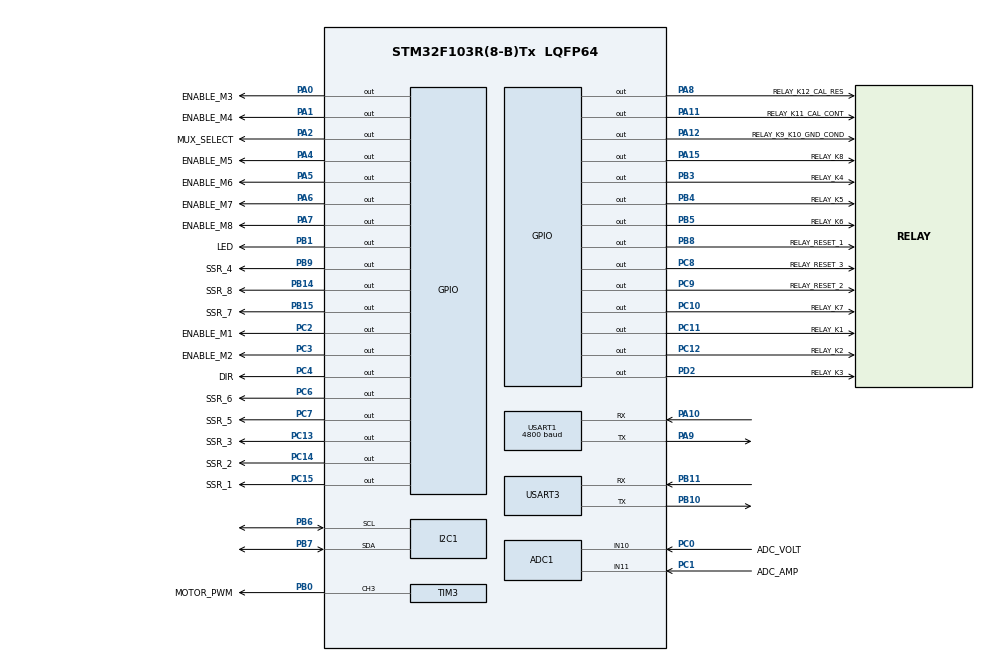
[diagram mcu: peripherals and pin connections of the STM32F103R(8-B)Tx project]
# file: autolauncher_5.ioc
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ADC1.Channel-0\#ChannelRegularConversion=ADC_CHANNEL_10
ADC1.Channel-1\#ChannelRegularConversion=ADC_CHANNEL_11
ADC1.Channel-2\#ChannelRegularConversion=ADC_CHANNEL_TEMPSENSOR
ADC1.ContinuousConvMode=DISABLE
ADC1.EnableAnalogWatchDog=false
ADC1.ExternalTrigConv=ADC_SOFTWARE_START
ADC1.NbrOfConversion=3
ADC1.NbrOfConversionFlag=1
ADC1.Rank-0\#ChannelRegularConversion=1
ADC1.Rank-1\#ChannelRegularConversion=2
ADC1.Rank-2\#ChannelRegularConversion=3
ADC1.SamplingTime-0\#ChannelRegularConversion=ADC_SAMPLETIME_239CYCLES_5
ADC1.SamplingTime-1\#ChannelRegularConversion=ADC_SAMPLETIME_239CYCLES_5
ADC1.SamplingTime-2\#ChannelRegularConversion=ADC_SAMPLETIME_239CYCLES_5
ADC1.master=1
Dma.ADC1.0.Direction=DMA_PERIPH_TO_MEMORY
Dma.ADC1.0.Instance=DMA1_Channel1
Dma.ADC1.0.MemDataAlignment=DMA_MDATAALIGN_HALFWORD
Dma.ADC1.0.MemInc=DMA_MINC_ENABLE
Dma.ADC1.0.Mode=DMA_CIRCULAR
Dma.ADC1.0.PeriphDataAlignment=DMA_PDATAALIGN_HALFWORD
Dma.ADC1.0.PeriphInc=DMA_PINC_DISABLE
Dma.ADC1.0.Priority=DMA_PRIORITY_LOW
Dma.Request0=ADC1
Mcu.Family=STM32F1
Mcu.Name=STM32F103R(8-B)Tx
Mcu.Package=LQFP64
NVIC.DMA1_Channel1_IRQn=true\:0\:0\:false\:false\:true\:false\:true\:true
NVIC.PriorityGroup=NVIC_PRIORITYGROUP_4
NVIC.TIM4_IRQn=true\:0\:0\:false\:false\:true\:true\:true\:true
NVIC.USART1_IRQn=true\:1\:0\:true\:false\:true\:true\:true\:true
PA0-WKUP.GPIO_Label=ENABLE_M3
PA0-WKUP.Signal=GPIO_Output
PA1.GPIO_Label=ENABLE_M4
PA1.Signal=GPIO_Output
PA10.Mode=Asynchronous
PA10.Signal=USART1_RX
PA11.GPIO_Label=RELAY_K11_CAL_CONT
PA11.Signal=GPIO_Output
PA12.GPIO_Label=RELAY_K9_K10_GND_COND
PA12.Signal=GPIO_Output
PA13.Mode=Serial_Wire
PA13.Signal=SYS_JTMS-SWDIO
PA14.Mode=Serial_Wire
PA14.Signal=SYS_JTCK-SWCLK
PA15.GPIO_Label=RELAY_K8
PA15.Signal=GPIO_Output
PA2.GPIO_Label=MUX_SELECT
PA2.Signal=GPIO_Output
PA4.GPIO_Label=ENABLE_M5
PA4.Signal=GPIO_Output
PA5.GPIO_Label=ENABLE_M6
PA5.Signal=GPIO_Output
PA6.GPIO_Label=ENABLE_M7
PA6.Signal=GPIO_Output
PA7.GPIO_Label=ENABLE_M8
PA7.Signal=GPIO_Output
PA8.GPIO_Label=RELAY_K12_CAL_RES
PA8.Signal=GPIO_Output
PA9.Mode=Asynchronous
PA9.Signal=USART1_TX
PB0.GPIO_Label=MOTOR_PWM
PB0.Signal=S_TIM3_CH3
PB1.GPIO_Label=LED
PB1.Signal=GPIO_Output
PB10.Mode=Asynchronous
PB10.Signal=USART3_TX
PB11.Mode=Asynchronous
PB11.Signal=USART3_RX
PB14.GPIO_Label=SSR_8
PB14.Signal=GPIO_Output
PB15.GPIO_Label=SSR_7
PB15.Signal=GPIO_Output
PB3.GPIO_Label=RELAY_K4
PB3.Signal=GPIO_Output
PB4.GPIO_Label=RELAY_K5
PB4.Signal=GPIO_Output
PB5.GPIO_Label=RELAY_K6
PB5.Signal=GPIO_Output
PB6.Mode=I2C
PB6.Signal=I2C1_SCL
PB7.Mode=I2C
PB7.Signal=I2C1_SDA
PB8.GPIO_Label=RELAY_RESET_1
PB8.Signal=GPIO_Output
PB9.GPIO_Label=SSR_4
PB9.Signal=GPIO_Output
PC0.GPIO_Label=ADC_VOLT
PC0.Signal=ADCx_IN10
PC1.GPIO_Label=ADC_AMP
PC1.Signal=ADCx_IN11
PC10.GPIO_Label=RELAY_K7
PC10.Signal=GPIO_Output
PC11.GPIO_Label=RELAY_K1
PC11.Signal=GPIO_Output
PC12.GPIO_Label=RELAY_K2
PC12.Signal=GPIO_Output
PC13-TAMPER-RTC.GPIO_Label=SSR_3
PC13-TAMPER-RTC.Signal=GPIO_Output
PC14-OSC32_IN.GPIO_Label=SSR_2
PC14-OSC32_IN.Signal=GPIO_Output
PC15-OSC32_OUT.GPIO_Label=SSR_1
PC15-OSC32_OUT.Signal=GPIO_Output
PC2.GPIO_Label=ENABLE_M1
PC2.Signal=GPIO_Output
PC3.GPIO_Label=ENABLE_M2
PC3.Signal=GPIO_Output
PC4.GPIO_Label=DIR
PC4.Signal=GPIO_Output
PC6.GPIO_Label=SSR_6
PC6.Signal=GPIO_Output
PC7.GPIO_Label=SSR_5
PC7.Signal=GPIO_Output
PC8.GPIO_Label=RELAY_RESET_3
PC8.Signal=GPIO_Output
PC9.GPIO_Label=RELAY_RESET_2
PC9.Signal=GPIO_Output
PD2.GPIO_Label=RELAY_K3
PD2.Signal=GPIO_Output
ProjectManager.HeapSize=0x200
ProjectManager.StackSize=0x400
ProjectManager.TargetToolchain=STM32CubeIDE
RCC.APB1Freq_Value=8000000
RCC.APB2Freq_Value=8000000
SH.ADCx_IN10.0=ADC1_IN10,IN10
SH.ADCx_IN11.0=ADC1_IN11,IN11
SH.S_TIM3_CH3.0=TIM3_CH3,PWM Generation3 CH3
TIM3.AutoReloadPreload=TIM_AUTORELOAD_PRELOAD_ENABLE
TIM3.Channel-PWM\ Generation3\ CH3=TIM_CHANNEL_3
TIM3.Period=5000-1
TIM3.Prescaler=8-1
TIM3.Pulse-PWM\ Generation3\ CH3=4500-1
TIM4.Channel-PWM\ Generation4\ No\ Output=TIM_CHANNEL_4
TIM4.Period=500-1
TIM4.Prescaler=8000-1
TIM4.Pulse-PWM\ Generation4\ No\ Output=250-1
TIM4.TIM_MasterOutputTrigger=TIM_TRGO_UPDATE
USART1.BaudRate=4800
USART1.VirtualMode=VM_ASYNC
USART3.VirtualMode=VM_ASYNC
VP_ADC1_TempSens_Input.Mode=IN-TempSens
VP_TIM3_VS_ClockSourceINT.Mode=Internal
VP_TIM4_VS_ClockSourceINT.Mode=Internal
VP_TIM4_VS_no_output4.Mode=PWM Generation4 No Output
board=custom

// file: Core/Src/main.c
/* USER CODE BEGIN Header */
/**
  ******************************************************************************
  * @file           : main.c
  * @brief          : Main program body
  ******************************************************************************
  * @attention
  *
  * Copyright (c) 2024 STMicroelectronics.
  * All rights reserved.
  *
  * This software is licensed under terms that can be found in the LICENSE file
  * in the root directory of this software component.
  * If no LICENSE file comes with this software, it is provided AS-IS.
  *
  ******************************************************************************
  */
/* USER CODE END Header */
#include "main.h"
#include "adc.h"
#include "dma.h"
#include "i2c.h"
#include "tim.h"
#include "usart.h"
#include "gpio.h"

/* USER CODE BEGIN Includes */
#include <string.h>
#include <stdio.h>
#include <stdlib.h>
#include "retargetio.h"
#include "eeprom.h"
#include "stepper_drv8826.h"
/* USER CODE END Includes */

/* USER CODE BEGIN PD */

#define MOTOR_GREASE_CYCLES 10 // grease pin cycle count
// Relay parameters
#define RELAY_ON_TIME 10 // time to keep relay coils energized in milliseconds
#define RELAY_INTERVAL_TIME 10 // time in between relay activations when in sequence, in milliseconds
// EEPROM parameters

/* USER CODE END PD */

/* USER CODE BEGIN PV */
relayLock_t relayLock = reFree; // relay mutex to ensure one coil is driven at a time
rxStatus_t rxStatus = idle; // flag, indicate if a new char was sent over serial. Set to 'active' in the UART interrupt callback, and 'idle' after processing command
activeMenu_t activeMenu = mainMenu; // menu state to determine how the received command will be processed (config or main)
// initialize main structures
launcher_t launcher = {0, '\0', '\0', 0, 'N'};
eeprom_t eeprom = {127, 0, EEPROM_BUS_ADDRESS, 10};
motor_t motor = {MOTOR_RUNTIME_DEFAULT, MOTOR_SAMPLE_PERIOD_DEFAULT, MOTOR_PWM_FREQ_DEFAULT, MOTOR_WIRING_DEFAULT ,{0,0,0,0,0,0,0,0}, {0,0,0,0,0,0,0,0,}}; // runtime, samplePeriod, configed, wiring, imax, use count
// buffer and flags for byte received by UART in interrupt mode
char rxBuffer[1] = "\0"; // UART1 receive buffer from computer, a char will be stored here with UART interrupt
char rxChar = '\0'; // UART1 receive character, == xBuffer[0]
// ADC conversion flags
uint8_t adcComplete = 0; // flag used to print ADC values
uint8_t adcDMAFull = 0; // this flag is set by the DMA IRQ when the adc buffer is full, located in DMA1_Channel1_IRQHandler(void) (stm32f1xx_it.c)
/* USER CODE END PV */

void SystemClock_Config(void);
/* USER CODE BEGIN PFP */

// Auxiliar functions
void get_user_input(char promptMsg[], char errorMsg[], uint8_t count, char checkList[], char * output);
void print_inline(char * text);
void print_char(uint8_t ch);
uint8_t is_num(char c);
void HAL_UART_RxCpltCallback(UART_HandleTypeDef * huart);
void print_serial_number(void);
void uartrx_interrupt_init(void);

// Menu control functions
void menu_init(void);
void menu_main_print(void);
void menu_config_print(void);
void menu_main_process_input(char option); // process the character received if in main menu
void menu_config_process_input(char option); // process the character received if in config menu
void motor_read_stats(void);
void motor_set_runtime(void);
void motor_set_sampling_period(void);
void motor_set_wiring(void);
void motor_set_pwm_freq(void);
void update_timer(TIM_HandleTypeDef * htim, uint32_t period, uint8_t channel ,float dutyCycle);
void motor_reset_stats(void);
void motor_read_parameters(void);
void menu_help_print(void);
void menu_config_tubes_type_serial(void);
void menu_print_volt_temp(void);

// Relay control functions
void connect_xbt_pin(uint8_t xbtNum); // connect ABC to a desired XBT 1-8
void calibrate_on(void);
void calibration_resistor(void);
void unground_xbt(void);
void reset_relay(void); // reset all relays, ground ABC
void drive_relay(GPIO_TypeDef * relayPort, uint16_t relayPin, uint8_t onTime); // drive the desired relay: port, pin & time coil is energized [ms]
void relay_init(void); // initialized relays in reset state

// RS232 TX control
void multiplexer_set(mux_t select);

void parameter_init(void);
/* USER CODE END PFP */

int main(void)
{

  /* MCU Configuration--------------------------------------------------------*/

  /* Reset of all peripherals, Initializes the Flash interface and the Systick. */
  HAL_Init();

  /* Configure the system clock */
  SystemClock_Config();

  /* Initialize all configured peripherals */
  MX_GPIO_Init();
  MX_DMA_Init();
  MX_TIM3_Init();
  MX_USART1_UART_Init();
  MX_ADC1_Init();
  MX_I2C1_Init();
  MX_USART3_UART_Init();
  MX_TIM4_Init();
  /* USER CODE BEGIN 2 */

  // Retarget IO stream to UART
  RetargetInit(&huart1);
  // Initialize stepper motors
  motor_init();
  // initialize multiplexer
  multiplexer_set(MUX_STM32);
  // Initialize relays
  relay_init();
  // enable receive interrupt
  uartrx_interrupt_init();
  // Initialize autolauncher parameters i.e. read eeprom
  parameter_init();
  // display main menu at startup
  menu_main_print();
  printf("\r\n> ");

  /* USER CODE END 2 */

  /* Infinite loop */
  /* USER CODE BEGIN WHILE */
  while (1)
  {
	  // menu control loop
	  if(active == rxStatus){ // set to active with UART RX interrupt
		  rxStatus = idle;
		  if( mainMenu == activeMenu){
			  menu_main_process_input(rxChar); // go to main switch case menu
		  } else if ( configMenu == activeMenu){
			  menu_config_process_input(rxChar);
		  }
	  }
	  // could monitor something routinely here
	  HAL_Delay(1); // needed to debug

    /* USER CODE END WHILE */

  }
}

void SystemClock_Config(void)
{
  RCC_OscInitTypeDef RCC_OscInitStruct = {0};
  RCC_ClkInitTypeDef RCC_ClkInitStruct = {0};
  RCC_PeriphCLKInitTypeDef PeriphClkInit = {0};

  /** Initializes the RCC Oscillators according to the specified parameters
  * in the RCC_OscInitTypeDef structure.
  */
  RCC_OscInitStruct.OscillatorType = RCC_OSCILLATORTYPE_HSI;
  RCC_OscInitStruct.HSIState = RCC_HSI_ON;
  RCC_OscInitStruct.HSICalibrationValue = RCC_HSICALIBRATION_DEFAULT;
  RCC_OscInitStruct.PLL.PLLState = RCC_PLL_NONE;
  if (HAL_RCC_OscConfig(&RCC_OscInitStruct) != HAL_OK)
  {
    Error_Handler();
  }

  /** Initializes the CPU, AHB and APB buses clocks
  */
  RCC_ClkInitStruct.ClockType = RCC_CLOCKTYPE_HCLK|RCC_CLOCKTYPE_SYSCLK
                              |RCC_CLOCKTYPE_PCLK1|RCC_CLOCKTYPE_PCLK2;
  RCC_ClkInitStruct.SYSCLKSource = RCC_SYSCLKSOURCE_HSI;
  RCC_ClkInitStruct.AHBCLKDivider = RCC_SYSCLK_DIV1;
  RCC_ClkInitStruct.APB1CLKDivider = RCC_HCLK_DIV1;
  RCC_ClkInitStruct.APB2CLKDivider = RCC_HCLK_DIV1;

  if (HAL_RCC_ClockConfig(&RCC_ClkInitStruct, FLASH_LATENCY_0) != HAL_OK)
  {
    Error_Handler();
  }
  PeriphClkInit.PeriphClockSelection = RCC_PERIPHCLK_ADC;
  PeriphClkInit.AdcClockSelection = RCC_ADCPCLK2_DIV2;
  if (HAL_RCCEx_PeriphCLKConfig(&PeriphClkInit) != HAL_OK)
  {
    Error_Handler();
  }
}

/* USER CODE BEGIN 4 */

/***************************************** START AUTOLAUNCHER FUNCTIONS *****************************************/

/********************************************** MENU FUNCTIONS **********************************************/

/* Print Main Menu options */
void menu_main_print(void) {
    printf("\r\n\n\r");
    printf("|========================================|\n\r");
    printf("|   AOML Autolauncher board version 3.0  |\n\r");
    printf("|        Firmware version 2024.12.dd     |\n\r");
    printf("|========================================|\n\r");
    printf("|     Model #ALV3.0      S/N ");
    print_serial_number();
    printf("       |\n\r");
    printf("|========================================|\n\r");
    printf("|               COMMANDS                 |\r\n");
//    if (launcher.configured != 'Y') {
//        printf("| ERROR, NO SERIAL NUMBER ASSIGNED 	 |\n\r");
//    }
    printf("|========================================|\n\r");
    printf("| Connect  Cal Sim BT  	0                |\n\r");
    if (launcher.tubeCount == '6') {
        printf("| Connect  XBT 1-6     1,2,3,4,5,6       |\n\r");
        printf("| Extend   Pin 1-6     U,V,W,X,Y,Z       |\n\r");
        printf("| Retract  Pin 1-6     A,B,C,D,E,F       |\n\r");
    } else if (launcher.tubeCount == '8') {
        printf("| Connect  XBT 1-8      1,2,3,4,5,6,7,8  |\n\r");
        printf("| Extend   Pin 1-8      U,V,W,X,Y,Z,S,T  |\n\r");
        printf("| Retract  Pin 1-8      A,B,C,D,E,F,H,I  |\n\r");
    } else {
    	printf("| ERROR, NO TUBE COUNT!!                |\n\r");
    }
    printf("| Unground XBT         	G                |\n\r");
    printf("| Calibrate ON         	K                |\n\r");
    printf("| Calibration resistor	L                |\n\r");
    printf("| Reset all relays    	R                |\n\r");
    printf("| Print serial number  	s                |\n\r");
    printf("| This menu            	M                |\n\r");
    printf("| Read voltage & temp   P                |\n\r");
    printf("| Set Tx to GPS         N                |\n\r");
    printf("| Set Tx to STM32       O                |\n\r");
    printf("|========================================|\n\r");
    printf("\r\n");
}//end status_message

/* Process char received while in Main menu state */
void menu_main_process_input(char option){
	print_char(option);
	printf("\r\n> Executing OPTION (%c) --> ", option);

	switch (option){
		// Connect XBT pins
    case '0':
        //engage calibration resistor
    	printf("unground_xbt(), calibration_resistor(), calibrate_on()\r\n");
        unground_xbt();
        calibration_resistor();
        calibrate_on();
        break;
    case '1':
    	printf("connect_xbt_pin(1)\r\n");
        connect_xbt_pin(1);
        break;
    case '2':
        connect_xbt_pin(2);
        printf("connect_xbt_pin(2)\r\n");
        break;
    case '3':
        connect_xbt_pin(3);
        printf("connect_xbt_pin(3)\r\n");
        break;
    case '4':
        connect_xbt_pin(4);
        printf("connect_xbt_pin(4)\r\n");
        break;
    case '5':
        connect_xbt_pin(5);
        printf("connect_xbt_pin(5)\r\n");
        break;
    case '6':
        connect_xbt_pin(6);
        printf("connect_xbt_pin(6)\r\n");
        break;
    case '7':
        if (launcher.tubeCount == '8'){
            connect_xbt_pin(7);
            printf("connect_xbt_pin(7)\r\n");
        } else {
        	printf("\r\n* ERROR: tube 7 not available *\r\n");
        }
        break;
    case '8':
        if (launcher.tubeCount == '8'){
        	connect_xbt_pin(8);
        	printf("connect_xbt_pin(8)\r\n");
        } else {
        	printf("\r\n* ERROR: tube 8 not available *\r\n");
        }
        break;
        //EXTEND PINS
    case 'U':
    	printf("extend_pin(1)\r\n");
    	extend_pin(1);
        break;
    case 'V':
        printf("extend_pin(2)\r\n");
        extend_pin(2);
        break;
    case 'W':
        printf("extend_pin(3)\r\n");
        extend_pin(3);
        break;
    case 'X':
        printf("extend_pin(4)\r\n");
        extend_pin(4);
        break;
    case 'Y':
        printf("extend_pin(5)\r\n");
        extend_pin(5);
        break;
    case 'Z':
        printf("extend_pin(6)\r\n");
        extend_pin(6);
        break;
    case 'S':
        if (launcher.tubeCount == '8'){
        	printf("extend_pin(7)\r\n");
        	extend_pin(7);
        } else {
        	printf("\r\n* ERROR: tube 7 not available *\r\n");
        }
        break;
    case 'T':
        if (launcher.tubeCount == '8'){
        	printf("extend_pin(8)\r\n");
        	extend_pin(8);
        } else {
        	printf("\r\n* ERROR: tube 8 not available *\r\n");
        }
        break;
        //RETRACT PINS
    case 'A':
    	printf("retract_pin(1)\r\n");
    	retract_pin(1);
        break;
    case 'B':
        printf("retract_pin(2)\r\n");
        retract_pin(2);
        break;
    case 'C':
        printf("retract_pin(3)\r\n");
        retract_pin(3);
        break;
    case 'D':
        printf("retract_pin(4)\r\n");
        retract_pin(4);
        break;
    case 'E':
        printf("retract_pin(5)\r\n");
        retract_pin(5);
        break;
    case 'F':
        printf("retract_pin(6)\r\n");
        retract_pin(6);
        break;
    case 'H':
        if (launcher.tubeCount == '8'){
        	printf("retract_pin(7)\r\n");
        	retract_pin(7);
        } else {
        	printf("* ERROR: tube 7 not available *\r\n");
        }
        break;
    case 'I':
        if (launcher.tubeCount == '8'){
        	printf("retract_pin(8)\r\n");
        	retract_pin(8);
        } else {
        	printf("* ERROR: tube 8 not available *\r\n");
        }
        break;
    case 'K':
    	printf("calibrate_on()\r\n");
        calibrate_on();
        break;
    case 'R':
    	printf("reset_relay(), ground XBT\r\n");
        reset_relay();
        break;
    case 'L':
    	printf("calibration_resistor()\r\n");
        calibration_resistor();
        break;
    case 'G':
    	printf("unground_xbt()\r\n");
        unground_xbt();
        break;
    case 'M':
        menu_main_print();
        break;
    case '~':
    	printf("menu_config_print()\r\n");
        menu_config_print();
        activeMenu = configMenu; // set configuration menu flag
        break;
    case 's':
    	printf("print_serial_number()\r\n");
    	printf("AL Serial Number: ");
        print_serial_number();
        printf("\r\n");
        break;
    case 'P':
    	printf("menu_print_volt_temp()\r\n");
    	// read input voltage and internal temp on autolauncher
    	menu_print_volt_temp();
    	break;
    case 'N':
    	printf("multiplexer_set(MUX_GPS)\r\n");
    	printf("\r\n** Data TX from local GPS --> press 'O' to set Tx to STM32 **\r\n\r\n");
    	multiplexer_set(MUX_GPS);
    	break;
    case 'O':
    	printf("multiplexer_set(MUX_STM32)\r\n");
    	printf("\r\n** Data TX from STM32 **\r\n");
    	multiplexer_set(MUX_STM32);
    	menu_main_print();
    	break;
    default:
        printf("\r\n** Unrecognized command!!** \r\n");
        break;
	}
	printf("\r\n> ");
}

/* Prints Input voltage and STM32 chip internal temperature */
void menu_print_volt_temp(void){
	adcScan_t adcReading = adc_get_values();
	printf("\r\n> Voltage [AD# %i]: %i.%i V | STM32 Temperature [AD# %i]: %i.%i C\r\n",
				 (int)adcReading.voltage.rawValue, (int)adcReading.voltage.realValue, get_decimal(adcReading.voltage.realValue, 1),
				 (int)adcReading.temperature.rawValue, (int)adcReading.temperature.realValue, get_decimal(adcReading.temperature.realValue, 1));
}

/* Print secret configuration menu options
 * Access this menu with '~' */
void menu_config_print(void) {
    printf("\n\r");
    printf("=========================================\n\r");
    printf("| AOML Autolauncher configuration menu	|\n\r");
    printf("=========================================\n\r");
    printf("|    Model #ALV3.0      S/N ");
    print_serial_number();
    printf("       |\n\r");
    printf("|=======================================|\n\r");
    printf("|               COMMANDS                |\n\r");
    printf("|=======================================|\n\r");
    printf("| <M> This Menu                         |\n\r");
    printf("| <A> Set AL tubes, type & S/N          |\n\r");
    printf("| <S> Extend all pins                   |\n\r");
    printf("| <D> Retract all pins                  |\n\r");
    printf("| <F> Grease pins mode                  |\n\r");
    printf("| <G> Clear memory range                |\n\r");
    printf("| <H> Read motor statistics             |\n\r");
    printf("| <J> Set motor runtime                 |\n\r");
    printf("| <K> Set ADC sampling period           |\n\r");
    printf("| <L> Set motor wiring mode             |\n\r");
    printf("| <W> Set motor PWM frequency           |\n\r");
    printf("| <E> Reset motor statistics            |\n\r");
    printf("| <R> Read motor configuration          |\n\r");
    printf("| <Z> Help                              |\n\r");
    printf("| <Q> QUIT to main menu                 |\n\r");
    printf("|=======================================|\n\r");
    printf("\r\n");
}//end status_message

/* Process char received while in configuration menu */
void menu_config_process_input(char option){
	print_char(option);
	printf("\r\n> Executing OPTION (%c) --> ", option);

    switch (option) {
        case 'Q':
            printf("\n\r> Leaving Auto launcher configuration menu\n\r");
            activeMenu = mainMenu; // set active menu flag to main menu
            menu_main_print();
            break;
        case 'M':
        	printf("menu_config_print()\r\n");
            menu_config_print();
            break;
        case 'A':
        	printf("menu_config_tubes_type_serial()\r\n");
        	// get the autolauncher tube count
        	menu_config_tubes_type_serial();
            // print config menu again
            menu_config_print();
            break;
        case 'S':
        	printf("extend_all_pins()\r\n");
        	if(launcher.tubeCount == '6')
        		extend_all_pins(6);
        	if(launcher.tubeCount == '8')
        		extend_all_pins(8);
            break;
        case 'D':
        	printf("retract_all_pins()\r\n");
        	if(launcher.tubeCount == '6')
        		retract_all_pins(6);
        	if(launcher.tubeCount == '8')
        		retract_all_pins(8);
            break;
        case 'F':
            printf("\n\rSend the \"@\" symbol repeatedly to exit grease pins mode\r\n");
            printf("grease_pins()\r\n");
            grease_pins(MOTOR_GREASE_CYCLES);
            break;
        case 'G':
        	// clear range of eeprom memory blocks
        	printf("eeprom_clear_memory_range()\r\n");
        	eeprom_clear_memory_range();
        	break;
        case 'H':
        	// read motor statistics (imax, count)
        	printf("motor_read_stats()");
        	motor_read_stats();
        	break;
        case 'J':
        	// set motor runtime
        	printf("motor_set_runtime()");
        	motor_set_runtime();
    		break;
        case 'K':
        	// set sampling period for ADC when motor is running
        	printf("motor_set_sampling_period()");
        	motor_set_sampling_period();
        	break;
        case 'L':
        	// set motor wiring type: 0 or 1. Based on value it'll change the direction the motor runs in CW/CCW
        	printf("motor_set_wiring()");
        	motor_set_wiring();
        	break;
        case 'W':
        	// set the motor step PWM freq for the DRV8826
        	printf("motor_set_pwm_freq()");
        	motor_set_pwm_freq();
        	break;
        case 'E':
        	// reset all motor statistics to 0
        	printf("motor_reset_stats()");
        	motor_reset_stats();
        	break;
        case 'R':
        	// read all motor configuration parameters
        	printf("motor_read_parameters()");
        	motor_read_parameters();
        	break;
        case 'Z':
        	// print help for config menu
        	printf("menu_help_print()");
        	menu_help_print();
        	break;
        default:
        	printf("\r\n** Unrecognized command!!** \r\n");
            break;
    }
    printf("\r\n> ");
}

/* Configure autloauncher parameters for display
 * Tube count, serial number and type */
void menu_config_tubes_type_serial(void){
	printf("> Current tube count: %c\r\n", launcher.tubeCount);
	char tubes[1];
	char tubePrompt[] = "\r\n> Enter AL tube count [6] or [8]: ";
	char tubeError[] = "\r\n** ERROR: Enter 6 or 8 ! **\r\n";
	char tubeCheck[] = {'6','8'};
	get_user_input(tubePrompt, tubeError, 1, tubeCheck, tubes);

    launcher.tubeCount = tubes[0];
    // get the autolauncher type, R regular or X extended, only for 8 tube AL
    if(launcher.tubeCount == '8'){
    	printf("> Current type: %c\r\n", launcher.type);
    	char type[1];
    	char typePrompt[] = "> Enter launcher type, [X] extended or [R] regular: ";
    	char typeError[] = "\r\n** ERROR: Enter X or R ! **\r\n";
    	char typeCheck[] = {'R','X'};
    	get_user_input(typePrompt, typeError, 1, typeCheck, type);
    	launcher.type = type[0];

    } else {
    	launcher.type = '0'; // if not 8 tubes, reset type to unknown
    }
    printf("> Current serial number: %i\r\n", launcher.serialNumber);
	char serial[2];
	char serialPrompt[] = "> Enter a two-digit Autolauncher serial number [00-99]: ";
	char serialError[] = "\r\n** Enter only numbers! **\r\n";
	char serialCheck[] = {'0','1','2','3','4','5','6','7','8','9'};
	get_user_input(serialPrompt, serialError, 2, serialCheck, serial);
	launcher.serialNumber = (uint8_t) ( (serial[0] - '0') * 10 + (serial[1] - '0') ); // convert to number, subtract '0' (48 dec)
    launcher.configured = 'Y';
    printf("\r\n> Tubes: %c | Type: %c | Serial: %i\r\n", launcher.tubeCount, launcher.type, launcher.serialNumber);

    // store parameters in eeprom
    eeprom_write_nbytes(AL_TUBECOUNT1B, sizeof(launcher.tubeCount), &launcher.tubeCount);
    eeprom_write_nbytes(AL_TYPE1B, sizeof(launcher.type), &launcher.type);
    eeprom_write_nbytes(AL_SN1B, sizeof(launcher.serialNumber), &launcher.serialNumber);
    eeprom_write_nbytes(AL_CONFIGED1B, sizeof(launcher.configured), &launcher.configured);
    printf("> Settings saved!");
    // test eeprom memory
    eeprom_read_nbytes(AL_TUBECOUNT1B, sizeof(launcher.tubeCount), &launcher.tubeCount);
    eeprom_read_nbytes(AL_TYPE1B, sizeof(launcher.type), &launcher.type);
    eeprom_read_nbytes(AL_SN1B, sizeof(launcher.serialNumber), &launcher.serialNumber);
    eeprom_read_nbytes(AL_CONFIGED1B, sizeof(launcher.configured), &launcher.configured);
    // print stored values
    printf("\r\n> Stored autolauncher configuration: Tubes: %c | Type: %c | Serial: %i | Configured: %c\r\n",
    		launcher.tubeCount, launcher.type, launcher.serialNumber, launcher.configured);
}

/* Clear a range of the eeprom memory
 * It will write a 0 to the selected range of memory addresses [0-127]
 * To clear 1 byte memory start = end */
void eeprom_clear_memory_range(void){
	uint8_t memStart, memEnd;
	uint8_t mFlag; // valid memory value flag
	// print eeprom memory map
	eeprom_print_memory_map();
	// get the memory range to clear - start
	char mem[3]; // buffer to store digits
	char mStartPrompt[100];
	sprintf(mStartPrompt, "\r\n> Enter (3-digit) START memory address [%03i-%03i]: ", eeprom.MEMORY_MIN, eeprom.MEMORY_MAX);
	char mEndPrompt[100];
	sprintf(mEndPrompt, "\r\n> Enter (3-digit) END memory address [%03i-%03i]: ", eeprom.MEMORY_MIN, eeprom.MEMORY_MAX);
	char memError[] = "\r\n** ERROR: enter valid numbers **\r\n";
	char memCheck[] = {'0','1','2','3','4','5','6','7','8','9'};
	// get start address
	do{
		mFlag = 0;
		get_user_input(mStartPrompt, memError, 3, memCheck, mem);
		memStart = (uint8_t) ( (mem[0] - '0') * 100 + (mem[1] - '0') * 10 + (mem[2] - '0') ); // convert to number, subtract '0' (48 dec)
		if((memStart >= eeprom.MEMORY_MIN) && (memStart <= eeprom.MEMORY_MAX)){
			mFlag = 1;
		} else {
			printf("\r\n** Memory out of range! **\r\n");
		}
	} while ( !mFlag );
	// get end address
	//mem[0] = '\0', mem[1] = '\0' , mem[2] = '\0'; // reet values
	do{
		mFlag = 0;
		get_user_input(mEndPrompt, memError, 3, memCheck, mem);
		memEnd = (uint8_t)( (mem[0] - '0') * 100 + (mem[1] - '0') * 10 + (mem[2] - '0') ); // convert to number, subtract '0' (48 dec)
		if((memEnd >= eeprom.MEMORY_MIN) && (memEnd <= eeprom.MEMORY_MAX) && memStart <= memEnd){
			mFlag = 1;
		} else {
			printf("\r\n** Memory out of range or start>end **\r\n");
		}
	} while ( !mFlag );
	printf("> %i block/s cleared!\r\n", eeprom_clear(memStart, memEnd));
	// update variables with new stored values
	// read launcher config
	eeprom_read_nbytes(AL_TUBECOUNT1B, sizeof(launcher.tubeCount), &launcher.tubeCount);
	eeprom_read_nbytes(AL_TYPE1B, sizeof(launcher.type), &launcher.type);
	eeprom_read_nbytes(AL_SN1B, sizeof(launcher.serialNumber), &launcher.serialNumber);
	eeprom_read_nbytes(AL_CONFIGED1B, sizeof(launcher.configured), &launcher.configured);
	// read motor config
	eeprom_read_nbytes(M_RUNTIME2B, sizeof(motor.runTime), &motor.runTime);
	eeprom_read_nbytes(M_PWM_FREQ2B, sizeof(motor.pwmFreq), &motor.pwmFreq);
	eeprom_read_nbytes(M_SAMPLEPERIOD2B, sizeof(motor.samplePeriod), &motor.samplePeriod);
	eeprom_read_nbytes(M_WIRING1B, sizeof(motor.wiring), &motor.wiring);
	// print new values
	printf("\r\n <EEPROM>\r\n");
	printf(" <AL> Tubes: %c | Type: %c | Serial: %i\r\n", launcher.tubeCount, launcher.type, launcher.serialNumber);
	printf(" <MOTOR> Runtime: %i ms | PWM Frequency: %i Hz | Sample Period: %i ms | Wiring: %i\r\n",
			(int)motor.runTime, (int)motor.pwmFreq, (int)motor.samplePeriod, (int)motor.wiring);
	motor_read_stats();
}

/* Read motor use count and Imax stored in eeprom memory */
void motor_read_stats(void){
	// use count
	eeprom_read_nbytes(M_1COUNT2B, sizeof(motor.count[0]), &motor.count[0]);
	eeprom_read_nbytes(M_2COUNT2B, sizeof(motor.count[1]), &motor.count[1]);
	eeprom_read_nbytes(M_3COUNT2B, sizeof(motor.count[2]), &motor.count[2]);
	eeprom_read_nbytes(M_4COUNT2B, sizeof(motor.count[3]), &motor.count[3]);
	eeprom_read_nbytes(M_5COUNT2B, sizeof(motor.count[4]), &motor.count[4]);
	eeprom_read_nbytes(M_6COUNT2B, sizeof(motor.count[5]), &motor.count[5]);
	eeprom_read_nbytes(M_7COUNT2B, sizeof(motor.count[6]), &motor.count[6]);
	eeprom_read_nbytes(M_8COUNT2B, sizeof(motor.count[7]), &motor.count[7]);
	// max current logged
	eeprom_read_nbytes(M_1MXAMP2B, sizeof(motor.imax[0]), &motor.imax[0]);
	eeprom_read_nbytes(M_2MXAMP2B, sizeof(motor.imax[1]), &motor.imax[1]);
	eeprom_read_nbytes(M_3MXAMP2B, sizeof(motor.imax[2]), &motor.imax[2]);
	eeprom_read_nbytes(M_4MXAMP2B, sizeof(motor.imax[3]), &motor.imax[3]);
	eeprom_read_nbytes(M_5MXAMP2B, sizeof(motor.imax[4]), &motor.imax[4]);
	eeprom_read_nbytes(M_6MXAMP2B, sizeof(motor.imax[5]), &motor.imax[5]);
	eeprom_read_nbytes(M_7MXAMP2B, sizeof(motor.imax[6]), &motor.imax[6]);
	eeprom_read_nbytes(M_8MXAMP2B, sizeof(motor.imax[7]), &motor.imax[7]);
	// print stats
	printf("\r\n\r\n|        STEPPER MOTOR STATS          |\r\n");
	printf("|=====================================|\r\n");
	for(uint8_t i = 0; i < 8; i++){
		printf("| [M%i] IMAX= %03i mA, USE_COUNT= %05i |\r\n", i+1 ,(int)motor.imax[i], (int)motor.count[i]);
	}
	printf("|=====================================|\r\n");
}

/* Set the runtime for the stepper motors */
void motor_set_runtime(void){
	printf("\r\n> Current runtime: %i ms [default=%i]\r\n", motor.runTime, MOTOR_RUNTIME_DEFAULT);
	char runtime[5];
	char runtimePrompt[100];
	sprintf(runtimePrompt, "> [exit=%05i] Enter motor runtime (5-digits) in milliseconds [%05i-%05i]: ", 0, MOTOR_RUNTIME_MIN, MOTOR_RUNTIME_MAX);
	char runtimeError[] = "\r\n** Enter only numbers! **\r\n";
	char runtimeCheck[] = {'0','1','2','3','4','5','6','7','8','9'};
	uint8_t rtFlag, exitFlag = 0;
	// loop until a good value is set or 0 to exit
	do{
		rtFlag = 0;
		get_user_input(runtimePrompt, runtimeError, 5, runtimeCheck, runtime);
		uint32_t rt = ( (runtime[0] - '0') * 10000 + (runtime[1] - '0') * 1000 + (runtime[2] - '0') * 100 + (runtime[3] - '0') * 10 + (runtime[4] - '0') );
		if(rt == 0){
			printf("\r\n** Exit **\r\n");
			exitFlag = 1;
			break;
		}
		// check values are within range
		if((rt >= MOTOR_RUNTIME_MIN) && (rt <= MOTOR_RUNTIME_MAX)){
			motor.runTime = (uint16_t) rt;
			rtFlag = 1;
		} else {
			printf("\r\n** Value out of range! **\r\n");
		}
	} while( !rtFlag);
	// store variables if it was not an exit
	if(exitFlag == 0){
		// Print all inputs
		printf("> Motor Runtime: %i ms\r\n", (int)motor.runTime);
		// store in eeprom
		eeprom_write_nbytes(M_RUNTIME2B, sizeof(motor.runTime), &motor.runTime);
		// test memory
		eeprom_read_nbytes(M_RUNTIME2B, sizeof(motor.runTime), &motor.runTime);
		printf("> Setting saved! Runtime: %i\r\n\r\n", (int)motor.runTime);
	}
}

/* Set the ADC sampling period while motor is running
 * This time should be shorter than motor runtime
 * The ADC will take a sample of Vin, motor I and chip temperature every x ms */
void motor_set_sampling_period(void){
	printf("\r\n> Current ADC sampling period: %i ms [default=%i]\r\n", motor.samplePeriod, MOTOR_SAMPLE_PERIOD_DEFAULT);
	char sPeriod[4];
	char sPeriodPrompt[100];
	sprintf(sPeriodPrompt, "> [exit=%04i] Enter ADC sampling time (4-digits) in milliseconds [%04i-%04i]: ", 0, MOTOR_SAMPLE_PERIOD_MIN, MOTOR_SAMPLE_PERIOD_MAX);
	char sPeriodError[] = "\r\n** Enter only numbers! **\r\n";
	char sPeriodCheck[] = {'0','1','2','3','4','5','6','7','8','9'};
	uint8_t spFlag, exitFlag = 0;
	do{
		spFlag = 0;
		get_user_input(sPeriodPrompt, sPeriodError, 4, sPeriodCheck, sPeriod);
		uint32_t sp = ( (sPeriod[0] - '0') * 1000 + (sPeriod[1] - '0') * 100 + (sPeriod[2] - '0') * 10 + (sPeriod[3] - '0') );
		// check to exit
		if(sp == 0){
			printf("\r\n** Exit **\r\n");
			exitFlag = 1;
			break;
		}
		// check if values are valid
		if(( sp >= MOTOR_SAMPLE_PERIOD_MIN) && (sp <= MOTOR_SAMPLE_PERIOD_MAX) && sp < motor.runTime){
			motor.samplePeriod = (uint16_t) sp;
			spFlag = 1;
		} else {
			printf("\r\n** Value out of range or greater than runtime! **\r\n");
		}
	} while( !spFlag);
	// update values if it was not an exit
	if(!exitFlag){
		// Print all inputs
		printf("> Motor ADC Sample Period: %i ms\r\n", (int)motor.samplePeriod);
		// store in eeprom
		eeprom_write_nbytes(M_SAMPLEPERIOD2B, sizeof(motor.samplePeriod), &motor.samplePeriod);
		// test memory
		eeprom_read_nbytes(M_SAMPLEPERIOD2B, sizeof(motor.samplePeriod), &motor.samplePeriod);
		printf("> Setting saved! Sample Period: %i\r\n\r\n", (int)motor.samplePeriod);
		// verify value read is ok
		if( !(motor.samplePeriod >= MOTOR_SAMPLE_PERIOD_MIN && motor.samplePeriod <= MOTOR_SAMPLE_PERIOD_MAX)){
			motor.samplePeriod = MOTOR_SAMPLE_PERIOD_DEFAULT;
		}
		// update timer PWM registers
		update_timer(&htim4, motor.samplePeriod, 4, 0.5);
	}
}

/* Set motor PWM frequency Hz to drive DRV8826 STEP pin */
void motor_set_pwm_freq(void){
	printf("\r\n> Current PWM frequency: %i Hz [default=%i]\r\n", motor.pwmFreq, MOTOR_PWM_FREQ_DEFAULT);
	char pwmf[4];
	char pwmfPrompt[100];
	sprintf(pwmfPrompt, "> [exit=%04i] Enter PWM frequency (4-digits) in Hz [%04i-%04i]: ", 0 ,MOTOR_PWM_FREQ_MIN, MOTOR_PWM_FREQ_MAX);
	char pwmfError[] = "\r\n** Enter only numbers! **\r\n";
	char pwmfCheck[] = {'0','1','2','3','4','5','6','7','8','9'};
	uint8_t pwmfFlag, exitFlag = 0;
	do{
		pwmfFlag = 0;
		get_user_input(pwmfPrompt, pwmfError, 4, pwmfCheck, pwmf);
		uint32_t f = ( (pwmf[0] - '0') * 1000 + (pwmf[1] - '0') * 100 + (pwmf[2] - '0') * 10 + (pwmf[3] - '0') );
		// exit if user entered 0
		if(f == 0){
			printf("\r\n** Exit **\r\n");
			exitFlag = 1;
			break;
		}
		if(( f >= MOTOR_PWM_FREQ_MIN) && (f <= MOTOR_PWM_FREQ_MAX)){
			motor.pwmFreq = (uint16_t) f;
			pwmfFlag = 1;
		} else {
			printf("\r\n** Value out of range! **\r\n");
		}
	} while(!pwmfFlag);
	// update values if it was not an exit
	if(!exitFlag){
		// Print all inputs
		printf("> Motor PWM frequency: %i Hz\r\n", (int)motor.pwmFreq);
		// store in eeprom
		eeprom_write_nbytes(M_PWM_FREQ2B, sizeof(motor.pwmFreq), &motor.pwmFreq);
		// test memory
		eeprom_read_nbytes(M_PWM_FREQ2B, sizeof(motor.pwmFreq), &motor.pwmFreq);
		printf("> Setting saved! PWM Freq: %i\r\n\r\n", (int)motor.pwmFreq);
		// verify value read is ok
		if( !(motor.pwmFreq >= MOTOR_PWM_FREQ_MIN && motor.pwmFreq <= MOTOR_PWM_FREQ_MAX)){
			motor.pwmFreq = MOTOR_PWM_FREQ_DEFAULT;
		}
		// get period from frequency
		uint32_t pwmPeriod = 1E6/motor.pwmFreq; // PWM period in us -> 1E6/200 Hz = 5000 us
		// update timer PWM registers
		update_timer(&htim3, pwmPeriod, 3, 0.5);
	}
}

/* update timer Pulse (CCRx) and Period (ARR) registers */
void update_timer(TIM_HandleTypeDef * htim, uint32_t period, uint8_t channel , float dutyCycle){
	// update timer registers with period and duty cycle See TIM_TypeDef definition
	// Example: Prescaler is 8, so  TIMER CLK = 8 MHz/8-> PWM f = 1 MHz  -> 1 cycle/1 us -> 1 rising edge / 1 us
	// ARR Auto Reload Register, counter Period: 5000-1 (5 ms)
	// CCR3 Capture Compare Register, channel 3 Pulse: 2500-1 (PWM mode 1 -> 0-2500 off, 2500-4999 on) 50% Duty cycle
	if( channel >= 1 && channel <= 4 && dutyCycle < 1 && dutyCycle > 0){
		uint32_t pulse = (uint32_t) ((float)period * dutyCycle);
		htim->Instance->ARR = (uint32_t) (period - 1);

		switch (channel){
		case 1:
			htim->Instance->CCR1 = pulse - 1;
			break;
		case 2:
			htim->Instance->CCR2 = pulse - 1;
			break;
		case 3:
			htim->Instance->CCR3 = pulse - 1;
			break;
		case 4:
			htim->Instance->CCR4 = pulse - 1;
			break;
		default:
			break;
		}
	} else {
		printf("\r\n** Timer registers could not be updated! **\r\n");
	}
}

/* Set the motor wiring mode according to the color sequence crimped
 * This will change the behavior of the retract/extend functions
 * cable sequence: blue, gren, black, red will make motor extend pin in CW direction with wiring mode = 0 */
void motor_set_wiring(void){
	printf("\r\n> Current motor wiring: %i [default=%i]\r\n", motor.wiring, MOTOR_WIRING_DEFAULT);
	char mw[1];
	char mwPrompt[] = "> Enter motor wiring code (1-digit number) [0-1]: ";
	char mwError[] = "\r\n** Enter only numbers! **\r\n";
	char mwCheck[] = {'0','1'};
	uint8_t mwFlag;
	do{
		mwFlag = 0;
		get_user_input(mwPrompt, mwError, 1, mwCheck, mw);
		uint32_t w = (mw[0] - '0');
		if( w == 1 || w == 0){
			motor.wiring = (uint8_t) w;
			mwFlag = 1;
		} else {
			printf("\r\n** Value out of range! **\r\n");
		}
	} while(!mwFlag);
	// Print all inputs
	printf("> Motor wiring code: %i\r\n", (int)motor.wiring);
	// store in eeprom
	eeprom_write_nbytes(M_WIRING1B, sizeof(motor.wiring), &motor.wiring);
	// test memory
	eeprom_read_nbytes(M_WIRING1B, sizeof(motor.wiring), &motor.wiring);
	printf("> Setting saved! Motor wiring: %i\r\n\r\n", (int)motor.wiring);
}

/* Cleare the memory locations corresponding to motor count and Imax for ALL motors */
void motor_reset_stats(void){
	uint8_t slots = eeprom_clear(M_1COUNT2B, M_8MXAMP2B+2);
	printf("\r\n> %i bytes cleared\r\n", slots);
	motor_read_stats();
}

/* Read all motor configuration parameters
 * And display if the program is using values from memory or defaults */
void motor_read_parameters(void){
	// read motor parameters from eeprom
	motor_t tempMotor;
	eeprom_read_nbytes(M_RUNTIME2B, sizeof(tempMotor.runTime), &tempMotor.runTime);
	eeprom_read_nbytes(M_SAMPLEPERIOD2B, sizeof(tempMotor.samplePeriod), &tempMotor.samplePeriod);
	eeprom_read_nbytes(M_PWM_FREQ2B, sizeof(tempMotor.pwmFreq), &tempMotor.pwmFreq);
	eeprom_read_nbytes(M_WIRING1B, sizeof(tempMotor.wiring), &tempMotor.wiring);
	// check values are within range or use defaults {flag = 'N'}
	char rtFlag = 'D', spFlag = 'D', pfFlag = 'D', wFlag = 'D'; // using default values?
	if(tempMotor.runTime >= MOTOR_RUNTIME_MIN && tempMotor.runTime <= MOTOR_RUNTIME_MAX){
		motor.runTime = tempMotor.runTime;
		rtFlag = 'M';
	}
	if(tempMotor.samplePeriod >= MOTOR_SAMPLE_PERIOD_MIN && tempMotor.samplePeriod <= MOTOR_SAMPLE_PERIOD_MAX && tempMotor.samplePeriod <= motor.runTime){
		motor.samplePeriod = tempMotor.samplePeriod;
		spFlag = 'M';
	}
	if(tempMotor.pwmFreq >= MOTOR_PWM_FREQ_MIN && tempMotor.pwmFreq <= MOTOR_PWM_FREQ_MAX){
		motor.pwmFreq = tempMotor.pwmFreq;
		pfFlag = 'M';
	}
	if(tempMotor.wiring == 0 || tempMotor.wiring == 1){
		motor.wiring = tempMotor.wiring;
		wFlag = 'M';
	}
	// update timer registers
	uint32_t pwmPeriod = 1E6/motor.pwmFreq; // PWM period in us -> 1E6/200 Hz = 5000 us
	update_timer(&htim3, pwmPeriod, 3, 0.5); // timer 3 motor PWM steps
	update_timer(&htim4, motor.samplePeriod, 4, 0.5); // tiemr 4 ADC sampling period
	// print all parameters
	printf("\r\n> Non-Volatile Memory {M} OR Default {D}\r\n <MOTOR> Runtime: %i ms {%c} | PWM Frequency: %i Hz {%c} | Sample Period: %i ms {%c} | Wiring: %i {%c} \r\n",
			 (int)motor.runTime, rtFlag, (int)motor.pwmFreq, spFlag, (int)motor.samplePeriod, pfFlag,  (int)motor.wiring, wFlag);
}

/* Print instructions on how to use configuration menu */
void menu_help_print(void){
	// text terminal format
	uint8_t fBold_GreenBgnd[] = "\x1b[1;42m"; // bold 1, 42 green background
	uint8_t fGreenBk[] = "\x1b[42m"; //  42 green background
	uint8_t fYellowBk[] = "\x1b[43m"; // 43 yellow background
	uint8_t fBlueBk[] = "\x1b[44m"; // 44 blue background
	uint8_t fMagentaFg[] = "\x1b[35m"; // 35 magenta foreground
	uint8_t fRedFg[] = "\x1b[35m"; // 35 magenta foreground
	uint8_t fReset[] = "\x1b[0m"; // reset all formats
	printf("\r\n|===========================================================================|\r\n");
	printf("|                        CONFIGURATION MENU HELP                            |\r\n");
	printf("|===========================================================================|\r\n");
	// A
	printf("| %s<A> Set AL tubes, type & S/N%s\r\n", fBlueBk, fReset);
	printf("| Set the autolauncher parameters\r\n");
	printf("| %s-Tube count%s: number of XBT tubes available (6 or 8)\r\n", fRedFg, fReset);
	printf("| This parameter affects the possibility of driving pins and connecting XBTs 7 & 8\r\n");
	printf("| %s-Type%s: type of launcher large (X) or regular (R)\r\n", fRedFg, fReset );
	printf("| This is option is not available if Tube count = 6\r\n");
	printf("| %s-Serial Number%s: autolauncher unique serial number\r\n", fRedFg, fReset );
	printf("|\r\n");
	// S
	printf("| %s<S> Extend all pins%s\r\n", fBlueBk, fReset);
	printf("| Extend all pins from 1 to 6 or 8\r\n");
	printf("|\r\n");
	// D
	printf("| %s<D> Retract all pins%s\r\n", fBlueBk, fReset);
	printf("| Retract all pins from 1 to 6 or 8\r\n");
	printf("|\r\n");
	// F
	printf("| %s<F> Grease pins mode%s\r\n", fBlueBk, fReset);
	printf("| Retract and extend each pin up to 10 times\r\n");
	printf("| or until the user sends '@'\r\n");
	printf("|\r\n");
	// G
	printf("| %s<G> Clear memory range%s\r\n", fBlueBk, fReset);
	printf("| Resets to 0 a range of bytes in EEPROM  \r\n");
	printf("| Memory addresses are printed out  \r\n");
	printf("| %s-Start address%s: 0 to 127\r\n", fRedFg, fReset );
	printf("| %s-End address%s: 0 to 127 & should be greater than Start address\r\n", fRedFg, fReset );
	printf("|\r\n");
	// H
	printf("| %s<H> Read motor statistics%s\r\n", fBlueBk, fReset);
	printf("| Prints the maximum logged curent & use count for each motor\r\n");
	printf("|\r\n");
	// J
	printf("| %s<J> Set motor runtime%s\r\n", fBlueBk, fReset);
	printf("| Set the time (ms) the motors run to retract/extend pin  \r\n");
	printf("|\r\n");
	// K
	printf("| %s<K> Set ADC sampling period%s\r\n", fBlueBk, fReset);
	printf("| Set the time interval (ms) between ADC samples while motor is running\r\n");
	printf("| ADC samples taken: current, input voltage, internal STM32 temperature\r\n");
	printf("|\r\n");
	// L
	printf("| %s<L> Set motor wiring mode%s\r\n", fBlueBk, fReset);
	printf("| Set the wiring code for the stepper motors to 0 or 1\r\n");
	printf("| Based on the color sequence connected in the motor terminal,    \r\n");
	printf("| a 0 or 1 will make a motor turn CW or CCW when a extending/retracting a pin\r\n");
	printf("| Color code is indicated in the PCB: blue, white, green, white, black, red\r\n");
	printf("|\r\n");
	// W
	printf("| %s<W> Set motor PWM frequency%s\r\n", fBlueBk, fReset);
	printf("| Set the step signal frequency (Hz) to drive the DRV8826 controller\r\n");
	printf("|\r\n");
	// E
	printf("| %s<E> Reset motor statistics%s\r\n", fBlueBk, fReset);
	printf("| Clears to 0 max current and use count for all motors\r\n");
	printf("|\r\n");
	// R
	printf("| %s<R> Read motor configuration%s\r\n", fBlueBk, fReset);
	printf("| Read all motor parameters stored in memory:\r\n");
	printf("| Runtime, ADC sample interval, Wiring mode, PWM frequency\r\n");
	printf("|===========================================================================|\r\n\r\n");

}

/********************************************** AUXILIAR FUNCTIONS **********************************************/

/* Get the use input from serial terminal
 * Parameters:
 * - Message prompt to direct the user what to do
 * - Message in case of error
 * - Count of character to be entered by the user
 * - A check list to limit the char input from the user to values in this list only
 * - Pointer to the list of characters entered */
void get_user_input(char promptMsg[], char errorMsg[], uint8_t count, char checkList[], char * output){
	//const uint8_t checkListSize = 10;
	print_inline(promptMsg);
    for(uint8_t i = 0; i < count; i++){
		while(1){
			HAL_Delay(1); // needed to debug, remove
			if(rxStatus == active){
				rxStatus = idle;
				print_char(rxChar);
				uint8_t checkFlag = 0;
				// check that belongs to the checkList
				for(uint8_t j = 0; j < MAX_CHECKLIST_SIZE; j++){
					// if there is a match, set flag, store value and break
					if(rxChar == checkList[j]){
						checkFlag = 1;
						output[i] = rxChar;// store the value
						break;
					}
				} // if no match, flag is 0
				if(checkFlag == 0){
					printf(errorMsg);
					print_inline(promptMsg);
					i = 0; // reinitialize counter to start over
				}
				// break while loop if value is good
				if(checkFlag == 1) break;
			}
		}
    }
    printf("\r\n");
}

/* Print a single character for echo in line */
void print_char(uint8_t ch){
	HAL_UART_Transmit(&huart1, (uint8_t *) &ch, 1, 10);
}

/* Print serial number based on AL configuration saved */
void print_serial_number(void){
	//printf( "AL%c%s", launcher.type[0], launcher.serialNumber);
    if(launcher.configured == 'Y'){
    	if(launcher.tubeCount == '6'){
    		printf( "AL%i ", launcher.serialNumber);
    	} else { // if 8 tubes
    		printf( "AL%c%i", launcher.type, launcher.serialNumber);
    	}
    } else {
    	printf( "AL000");
    }
}

/* is_num()
 * Parameters: character c
 * Return: 1 if c is a digit, 0 if not */
uint8_t is_num(char c){
	uint8_t isNum = 0;
	isNum = ('0' == c || '1' == c || '2' == c || '3' == c || '4' == c || '5' == c || '6' == c || '7' == c || '8' == c || '9' == c);
	return isNum;
}

/* Select the source of RS232
 * Parameters: select {MUX_GPS, MUX_STM32} */
void multiplexer_set(mux_t select){
	HAL_GPIO_WritePin(MUX_SELECT_GPIO_Port, MUX_SELECT_Pin, select); // SET = UART-tx / RESET = Din from GPS
}

/* Print line without a '\n' newline at the end
 * Use for data entry prompts or partial text inline */
void print_inline(char * text){
	char temp = ' ';
	for(uint8_t i = 0; i<=255 && temp!= '\0' ; i++){
		temp = text[i];
		HAL_UART_Transmit(&huart1, (uint8_t *) &temp, 1, 100);
	}
}

/* Initialize autolauncher parameters from memory or defaults */
void parameter_init(void){
	// get parameters from eeprom or assign default values
	eeprom_read_nbytes(AL_CONFIGED1B, sizeof(launcher.configured), &launcher.configured);
	// read values if they were configured previously
	if(launcher.configured == 'Y'){
		printf("\r\n** Launcher configuration found in memory **\r\n");
		eeprom_read_nbytes(AL_TUBECOUNT1B, sizeof(launcher.tubeCount), &launcher.tubeCount);
		eeprom_read_nbytes(AL_TYPE1B, sizeof(launcher.type), &launcher.type);
		eeprom_read_nbytes(AL_SN1B, sizeof(launcher.serialNumber), &launcher.serialNumber);
		printf("\r\n <AL> Tubes: %c | Type: %c | Serial: %03i <AL>\r\n", launcher.tubeCount, launcher.type, launcher.serialNumber);
	} else {
		printf("\r\n** Launcher Configuration NOT found in memory **\r\n");
	}
	// read motor parameters from eeprom
	motor_read_parameters();
	// Read motor stats
	motor_read_stats();
}

/* UART Receive complete interrupt callback, set rxStatus flag for new char received
 * re-enable uart rx interrupt */
void HAL_UART_RxCpltCallback(UART_HandleTypeDef * huart){
	// check that uart1 triggered the interrupt callback
	if(huart->Instance == USART1){
		rxChar = rxBuffer[0]; // store the only element in buffer to a char for easier variable handling
		rxStatus = active; // set flag to enter main menu char processing
		HAL_UART_Receive_IT(&huart1, (uint8_t *) rxBuffer, 1); // reactivate rx interrupt
	}
}

/* When the ADC conversion in DMA mode is complete (all samples in adc scan), set flag
 * Then the IRQ calls this function */
void HAL_ADC_ConvCpltCallback(ADC_HandleTypeDef* hadc){
	//HAL_ADC_Stop_DMA(&hadc1);
	if(hadc->Instance == ADC1){
		adcComplete = 1;
	}
}

/* Wrapper for 1st uart_rx call
 * The interrupt is enabled for rx after this function is called, and then disabled until called again */
void uartrx_interrupt_init(void){
	HAL_UART_Receive_IT(&huart1, (uint8_t *) rxBuffer, 1); // enable UART receive interrupt, store received char in rxChar buffer
}

/********************************************** RELAY CONTROL FUNCTIONS **********************************************/

/* Disconnect the XBT ABC pins from ground
 * 3 relays can be used as ground when SET, or ground when RESET based on jumpers JP6-7-8
 * If 1-2 pads are soldered, SET relays to unground, RESET relays to ground
 * Note: reset signal 3 is tied to other relays: CAL cont & CAL res */
void unground_xbt(void){
	if(relayLock == reFree){
		relayLock = reLocked;
		drive_relay(RELAY_RESET_3_GPIO_Port, RELAY_RESET_3_Pin, 10); // RESET relay k9, k10, k11, k12
		relayLock = reFree;
	}
}

void calibration_resistor(void){
	if(relayLock == reFree){
		relayLock = reLocked;
		drive_relay(RELAY_K12_CAL_RES_GPIO_Port, RELAY_K12_CAL_RES_Pin, RELAY_ON_TIME); // SET relay k12
		relayLock = reFree;
	}
}

void calibrate_on(void){
	if(relayLock == reFree){
		relayLock = reLocked;
		drive_relay(RELAY_K11_CAL_CONT_GPIO_Port, RELAY_K11_CAL_CONT_Pin, RELAY_ON_TIME); // SET relay k11
		relayLock = reFree;
	}
}

void reset_relay(void){
	if(relayLock == reFree){
		relayLock = reLocked;
		drive_relay(RELAY_RESET_1_GPIO_Port, RELAY_RESET_1_Pin, RELAY_ON_TIME); // RESET relay k1, k2, k3, k4, SSR1, SSR2, SSR3, SSR4
		HAL_Delay(RELAY_INTERVAL_TIME);
		drive_relay(RELAY_RESET_2_GPIO_Port, RELAY_RESET_2_Pin, RELAY_ON_TIME); // RESET relay k5, k6, k7, k8, SSR5, SSR6, SSR7, SSR8
		HAL_Delay(RELAY_INTERVAL_TIME);
		drive_relay(RELAY_RESET_3_GPIO_Port, RELAY_RESET_3_Pin, RELAY_ON_TIME); // RESET relay k9, k10, k11, k12 - This grounds ABC
		relayLock = reFree;
	}
}

void connect_xbt_pin(uint8_t xbtNum){

	if(relayLock == reFree){
		relayLock = reLocked;

		switch (xbtNum){
		case 1:
			drive_relay(RELAY_K1_GPIO_Port, RELAY_K1_Pin, RELAY_ON_TIME); // SET relay k1
			drive_relay(SSR_1_GPIO_Port, SSR_1_Pin, 1); // SET SSR1
			break;
		case 2:
			drive_relay(RELAY_K2_GPIO_Port, RELAY_K2_Pin, RELAY_ON_TIME); // SET relay k2
			drive_relay(SSR_2_GPIO_Port, SSR_2_Pin, 1); // SET SSR2
			break;
		case 3:
			drive_relay(RELAY_K3_GPIO_Port, RELAY_K3_Pin, RELAY_ON_TIME); // SET relay k3
			drive_relay(SSR_3_GPIO_Port, SSR_3_Pin, 1); // SET SSR3
			break;
		case 4:
			drive_relay(RELAY_K4_GPIO_Port, RELAY_K4_Pin, RELAY_ON_TIME); // SET relay k4
			drive_relay(SSR_4_GPIO_Port, SSR_4_Pin, 1); // SET SSR4
			break;
		case 5:
			drive_relay(RELAY_K5_GPIO_Port, RELAY_K5_Pin, RELAY_ON_TIME); // SET relay k5
			drive_relay(SSR_5_GPIO_Port, SSR_5_Pin, 1); // SET SSR5
			break;
		case 6:
			drive_relay(RELAY_K6_GPIO_Port, RELAY_K6_Pin, RELAY_ON_TIME); // SET relay k6
			drive_relay(SSR_6_GPIO_Port, SSR_6_Pin, 1); // SET SSR6
			break;
		case 7:
			drive_relay(RELAY_K7_GPIO_Port, RELAY_K7_Pin, RELAY_ON_TIME); // SET relay k7
			drive_relay(SSR_7_GPIO_Port, SSR_7_Pin, 1); // SET SSR7
			break;
		case 8:
			drive_relay(RELAY_K8_GPIO_Port, RELAY_K8_Pin, RELAY_ON_TIME); // SET relay k8
			drive_relay(SSR_8_GPIO_Port, SSR_8_Pin, 1); // SET SSR8
			break;
		default:
			printf("\r\n** ERROR: XBT %i relay not found **\r\n", xbtNum);
			break;
		}
		relayLock = reFree;
	}
}

void relay_init(void){
	drive_relay(RELAY_RESET_1_GPIO_Port, RELAY_RESET_1_Pin, RELAY_ON_TIME);  // RESET relay k1, k2, k3, k4, SSR1, SSR2, SSR3, SSR4
	HAL_Delay(RELAY_INTERVAL_TIME);
	drive_relay(RELAY_RESET_2_GPIO_Port, RELAY_RESET_2_Pin, RELAY_ON_TIME); // RESET relay k5, k6, k7, k8, SSR5, SSR6, SSR7, SSR8
	HAL_Delay(RELAY_INTERVAL_TIME);
	drive_relay(RELAY_RESET_3_GPIO_Port, RELAY_RESET_3_Pin, RELAY_ON_TIME); // RESET relay k9, k10, k11, k12 (GND, calibration and continuity circuit)
}

void drive_relay(GPIO_TypeDef * relayPort, uint16_t relayPin, uint8_t onTime){
	// SET relay k
	HAL_GPIO_WritePin(relayPort, relayPin, SET); // set
	HAL_Delay(onTime); // time coil is driven in ms
	HAL_GPIO_WritePin(relayPort, relayPin, RESET); // release
	HAL_Delay(2);
}

/***************************************** END AUTOLAUNCHER FUNCTIONS *****************************************/
/* USER CODE END 4 */

void Error_Handler(void)
{
  __disable_irq();
  while (1)
  {
  }
}
